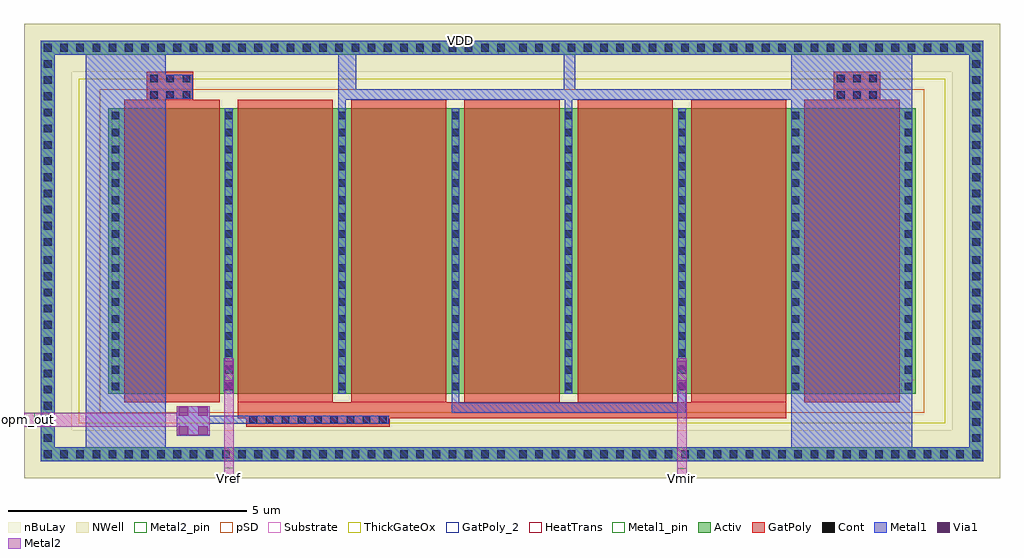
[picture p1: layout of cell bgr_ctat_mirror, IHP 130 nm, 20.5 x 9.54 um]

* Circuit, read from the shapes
.subckt bgr_ctat_mirror VDD Vmir Vref opm_out
XM1 Vref VDD VDD VDD sg13_hv_pmos w=6u l=2u
XM2 VDD opm_out Vref VDD sg13_hv_pmos w=6u l=2u
XM3 Vmir opm_out VDD VDD sg13_hv_pmos w=6u l=2u m=4
XM4 VDD VDD VDD VDD sg13_hv_pmos w=6u l=2u
.ends

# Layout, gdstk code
import gdstk
lib = gdstk.Library(unit=1e-6, precision=1e-09)
def R(c, l, rs):  # rectangles x0, y0, x1, y1
    for r in rs: c.add(gdstk.rectangle(r[:2], r[2:], *l))
def A(c, l, x, y, w, h, nx, ny, dx, dy):  # array of equal rectangles
    R(c, l, [(x+i*dx, y+j*dy, x+i*dx+w, y+j*dy+h) for i in range(nx) for j in range(ny)])
def P(c, l, *ps):  # polygons
    for p in ps: c.add(gdstk.Polygon(p, *l))
Activ = (1, 0)
GatPoly = (5, 0)
GatPoly_2 = (5, 2)
Cont = (6, 0)
Metal1 = (8, 0)
Metal1_pin = (8, 2)
Metal2 = (10, 0)
Metal2_pin = (10, 2)
pSD = (14, 0)
Via1 = (19, 0)
NWell = (31, 0)
nBuLay = (32, 0)
Substrate = (40, 0)
ThickGateOx = (44, 0)
HeatTrans = (51, 0)

pmoshv = lib.new_cell('pmosHV')
A(pmoshv, Activ, 0, 0, 0.3, 0.3, 8, 1, 2.38, 0)
R(pmoshv, Activ, [(-1.42,-1.12,-1.12,7.12), (18.08,-1.12,18.38,7.12), (0,0,16.96,6), (-1.42,7.12,18.38,7.42)])
P(pmoshv, Activ, [(-1.42,-1.42),(-1.42,7.12),(-1.12,7.12),(-1.12,-1.12),(18.08,-1.12),(18.08,7.12),(-1.42,7.12),(-1.42,7.42),(18.38,7.42),(18.38,-1.42)])
A(pmoshv, GatPoly, 0.34, -0.18, 2, 6.36, 7, 1, 2.38, 0)
R(pmoshv, GatPoly_2, [(0.34,-0.18,2.34,6.18)])
A(pmoshv, Cont, -1.35, -1.35, 0.16, 0.16, 29, 2, 0.34, 8.54)
A(pmoshv, Cont, 8.63, -1.35, 0.16, 0.16, 29, 2, 0.34, 8.54)
A(pmoshv, Cont, -1.35, -1.01, 0.16, 0.16, 1, 12, 0, 0.34)
A(pmoshv, Cont, 18.15, -1.01, 0.16, 0.16, 1, 12, 0, 0.34)
A(pmoshv, Cont, 0.07, 0.07, 0.16, 0.16, 8, 4, 2.38, 0.355)
A(pmoshv, Cont, 0.07, 1.495, 0.16, 0.16, 8, 4, 2.38, 0.355)
A(pmoshv, Cont, 0.07, 2.92, 0.16, 0.16, 8, 4, 2.38, 0.355)
A(pmoshv, Cont, -1.35, 3.11, 0.16, 0.16, 1, 12, 0, 0.34)
A(pmoshv, Cont, 18.15, 3.11, 0.16, 0.16, 1, 12, 0, 0.34)
A(pmoshv, Cont, 0.07, 4.345, 0.16, 0.16, 8, 4, 2.38, 0.355)
A(pmoshv, Cont, 0.07, 5.77, 0.16, 0.16, 8, 1, 2.38, 0)
A(pmoshv, Metal1, 0.07, 0, 0.16, 6, 8, 1, 2.38, 0)
R(pmoshv, Metal1, [(-1.42,-1.42,18.38,-1.12), (-1.42,-1.12,-1.12,7.12), (18.08,-1.12,18.38,7.12), (-1.42,7.12,18.38,7.42)])
R(pmoshv, Metal1_pin, [(0.07,0,0.23,6), (2.45,0,2.61,6)])
R(pmoshv, pSD, [(-0.18,-0.4,17.14,6.4)])
R(pmoshv, NWell, [(-1.77,-1.77,18.73,7.77), (-0.62,-0.62,17.58,6.62)])
R(pmoshv, nBuLay, [(-1.77,-0.77,-0.77,6.77), (17.73,-0.77,18.73,6.77), (-1.77,6.77,18.73,7.77)])
P(pmoshv, nBuLay, [(-1.77,-1.77),(-1.77,6.77),(-0.77,6.77),(-0.77,-0.77),(17.73,-0.77),(17.73,6.77),(-1.77,6.77),(-1.77,7.77),(18.73,7.77),(18.73,-1.77)])
R(pmoshv, Substrate, [(16.66,0,16.96,0.3)])
R(pmoshv, ThickGateOx, [(-0.62,-0.62,17.58,6.62)])
A(pmoshv, HeatTrans, 0.34, -0.18, 2, 6.36, 7, 1, 2.38, 0)
pmoshv.add(gdstk.Label('pmosHV', (1.34,3), layer=63, texttype=0))
pmoshv.add(gdstk.Label('well', (8.48,-1.27), layer=63, texttype=0))
pmoshv.add(gdstk.Label('pmos', (1.34,3), layer=51, texttype=0))
pmoshv.add(gdstk.Label('pmos', (3.72,3), layer=51, texttype=0))
pmoshv.add(gdstk.Label('pmos', (6.1,3), layer=51, texttype=0))
pmoshv.add(gdstk.Label('pmos', (8.48,3), layer=51, texttype=0))
pmoshv.add(gdstk.Label('pmos', (10.86,3), layer=51, texttype=0))
pmoshv.add(gdstk.Label('pmos', (13.24,3), layer=51, texttype=0))
pmoshv.add(gdstk.Label('pmos', (15.62,3), layer=51, texttype=0))

via_stack = lib.new_cell('via_stack')
R(via_stack, GatPoly, [(-1.51,-0.15,1.51,0.15)])
A(via_stack, Cont, -1.44, -0.08, 0.16, 0.16, 9, 1, 0.34, 0)
R(via_stack, Metal1, [(-1.49,-0.08,1.49,0.08)])

via_stack_37 = lib.new_cell('via_stack$37')
R(via_stack_37, Metal1, [(-0.105,-0.35,0.105,0.35)])
R(via_stack_37, Metal2, [(-0.1,-0.35,0.1,0.35)])
R(via_stack_37, Via1, [(-0.095,-0.3,0.095,-0.11), (-0.095,0.11,0.095,0.3)])

via_stack_38 = lib.new_cell('via_stack$38')
R(via_stack_38, Metal1, [(-0.35,-0.31,0.35,0.31)])
R(via_stack_38, Metal2, [(-0.35,-0.305,0.35,0.305)])
R(via_stack_38, Via1, [(-0.3,-0.3,-0.11,-0.11), (0.11,-0.3,0.3,-0.11), (-0.3,0.11,-0.11,0.3), (0.11,0.11,0.3,0.3)])

via_stack_39 = lib.new_cell('via_stack$39')
R(via_stack_39, GatPoly, [(-0.49,-0.32,0.49,0.32)])
A(via_stack_39, Cont, -0.42, -0.25, 0.16, 0.16, 3, 2, 0.34, 0.34)
R(via_stack_39, Metal1, [(-0.47,-0.25,0.47,0.25)])

bgr_ctat_mirror = lib.new_cell('bgr_ctat_mirror')
R(bgr_ctat_mirror, GatPoly, [(4.49,1.255,16.01,1.59)])
A(bgr_ctat_mirror, Metal1, 6.6, 7.77, 0.16, 0.4, 3, 1, 4.76, 0)
R(bgr_ctat_mirror, Metal1, [(1.295,0.35,2.98,9.19), (16.12,0.35,18.66,9.19), (3.455,1.145,4.685,1.305), (8.98,1.37,9.14,1.77), (8.98,1.37,13.9,1.58), (13.74,1.37,13.9,1.77), (6.6,7.95,16.28,8.17), (6.6,8.06,6.975,8.945), (11.335,8.06,11.58,8.96)])
R(bgr_ctat_mirror, Metal1_pin, [(8.365,8.89,9.97,9.19)])
R(bgr_ctat_mirror, Metal2, [(4.205,0,4.405,1.855), (13.72,0,13.92,1.855), (0,1.075,3.485,1.37)])
R(bgr_ctat_mirror, Metal2_pin, [(4.205,0,4.405,0.22), (13.72,0,13.92,0.21), (0,1.075,0.23,1.37)])
bgr_ctat_mirror.add(gdstk.Reference(pmoshv, (1.77,1.77)))
bgr_ctat_mirror.add(gdstk.Reference(via_stack, (6.175,1.225)))
bgr_ctat_mirror.add(gdstk.Reference(via_stack_37, (13.82,2.17)))
bgr_ctat_mirror.add(gdstk.Reference(via_stack_37, (4.305,2.17)))
bgr_ctat_mirror.add(gdstk.Reference(via_stack_38, (3.555,1.2)))
bgr_ctat_mirror.add(gdstk.Reference(via_stack_39, (3.07,8.22)))
bgr_ctat_mirror.add(gdstk.Reference(via_stack_39, (17.495,8.22)))
bgr_ctat_mirror.add(gdstk.Label('VDD', (9.168,9.19), layer=8, texttype=2))
bgr_ctat_mirror.add(gdstk.Label('Vref', (4.305,0), layer=10, texttype=2))
bgr_ctat_mirror.add(gdstk.Label('Vmir', (13.82,0), layer=10, texttype=2))
bgr_ctat_mirror.add(gdstk.Label('opm_out', (0,1.223), layer=10, texttype=2))

lib.write_gds('bgr_ctat_mirror.gds')
